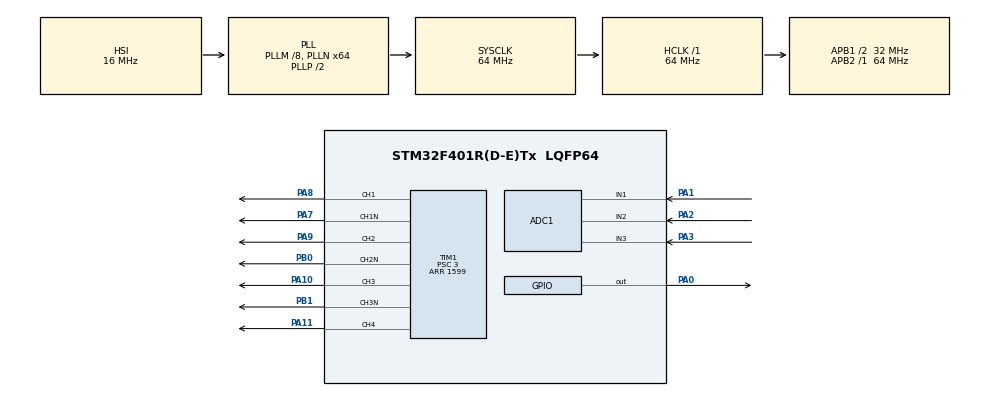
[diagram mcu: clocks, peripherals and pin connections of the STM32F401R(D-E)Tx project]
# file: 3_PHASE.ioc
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ADC1.Channel-0\#ChannelRegularConversion=ADC_CHANNEL_1
ADC1.NbrOfConversionFlag=1
ADC1.Rank-0\#ChannelRegularConversion=1
ADC1.SamplingTime-0\#ChannelRegularConversion=ADC_SAMPLETIME_3CYCLES
ADC1.master=1
Mcu.Family=STM32F4
Mcu.Name=STM32F401R(D-E)Tx
Mcu.Package=LQFP64
NVIC.ADC_IRQn=true\:0\:0\:false\:false\:true\:true\:true
NVIC.PriorityGroup=NVIC_PRIORITYGROUP_0
NVIC.TIM2_IRQn=true\:0\:0\:false\:false\:true\:true\:true
PA0-WKUP.GPIO_Speed=GPIO_SPEED_FREQ_VERY_HIGH
PA0-WKUP.Signal=GPIO_Output
PA1.Signal=ADCx_IN1
PA10.Signal=S_TIM1_CH3
PA11.Signal=S_TIM1_CH4
PA2.Signal=ADCx_IN2
PA3.Signal=ADCx_IN3
PA7.Mode=Output Compare1 CH1 CH1N
PA7.Signal=TIM1_CH1N
PA8.Signal=S_TIM1_CH1
PA9.Signal=S_TIM1_CH2
PB0.Mode=Output Compare2 CH2 CH2N
PB0.Signal=TIM1_CH2N
PB1.Mode=Output Compare3 CH3 CH3N
PB1.Signal=TIM1_CH3N
ProjectManager.HeapSize=0x200
ProjectManager.StackSize=0x400
ProjectManager.TargetToolchain=STM32CubeIDE
RCC.48MHZClocksFreq_Value=18285714.285714287
RCC.AHBFreq_Value=64000000
RCC.APB1CLKDivider=RCC_HCLK_DIV2
RCC.APB1Freq_Value=32000000
RCC.APB1TimFreq_Value=64000000
RCC.APB2Freq_Value=64000000
RCC.APB2TimFreq_Value=64000000
RCC.CortexFreq_Value=64000000
RCC.HCLKFreq_Value=64000000
RCC.HSE_VALUE=8000000
RCC.HSI_VALUE=16000000
RCC.LSE_VALUE=32768
RCC.PLLM=8
RCC.PLLN=64
RCC.PLLQ=7
RCC.SYSCLKFreq_VALUE=64000000
RCC.SYSCLKSource=RCC_SYSCLKSOURCE_PLLCLK
RCC.VCOOutputFreq_Value=128000000
SH.ADCx_IN1.0=ADC1_IN1,IN1
SH.ADCx_IN2.0=ADC1_IN2,IN2
SH.ADCx_IN3.0=ADC1_IN3,IN3
SH.S_TIM1_CH1.0=TIM1_CH1,Output Compare1 CH1 CH1N
SH.S_TIM1_CH2.0=TIM1_CH2,Output Compare2 CH2 CH2N
SH.S_TIM1_CH3.0=TIM1_CH3,Output Compare3 CH3 CH3N
SH.S_TIM1_CH4.0=TIM1_CH4,PWM Generation4 CH4
TIM1.Channel-Output\ Compare1\ CH1\ CH1N=TIM_CHANNEL_1
TIM1.Channel-Output\ Compare2\ CH2\ CH2N=TIM_CHANNEL_2
TIM1.Channel-Output\ Compare3\ CH3\ CH3N=TIM_CHANNEL_3
TIM1.Channel-PWM\ Generation4\ CH4=TIM_CHANNEL_4
TIM1.DeadTime=75
TIM1.Period=1599
TIM1.Prescaler=3
TIM1.TIM_MasterOutputTrigger=TIM_TRGO_UPDATE
TIM1.TIM_MasterSlaveMode=TIM_MASTERSLAVEMODE_ENABLE
TIM2.Period=1
VP_TIM1_VS_ClockSourceINT.Mode=Internal
VP_TIM2_VS_ClockSourceITR.Mode=TriggerSource_ITR0
VP_TIM2_VS_ControllerModeClock.Mode=Clock Mode
board=NUCLEO-F401RE

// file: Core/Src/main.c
/* USER CODE BEGIN Header */
/**
  ******************************************************************************
  * @file           : main.c
  * @brief          : Main program body
  ******************************************************************************
  * @attention
  *
  * <h2><center>&copy; Copyright (c) 2021 STMicroelectronics.
  * All rights reserved.</center></h2>
  *
  * This software component is licensed by ST under BSD 3-Clause license,
  * the "License"; You may not use this file except in compliance with the
  * License. You may obtain a copy of the License at:
  *                        opensource.org/licenses/BSD-3-Clause
  *
  ******************************************************************************
  */
/* USER CODE END Header */
#include "main.h"
#include "adc.h"
#include "tim.h"
#include "gpio.h"

/* USER CODE BEGIN PV */
int uwStep;
/* USER CODE END PV */

void SystemClock_Config(void);

int main(void)
{

  /* MCU Configuration--------------------------------------------------------*/

  /* Reset of all peripherals, Initializes the Flash interface and the Systick. */
  HAL_Init();

  /* Configure the system clock */
  SystemClock_Config();

  /* Initialize all configured peripherals */
  MX_GPIO_Init();
  MX_TIM1_Init();
  MX_TIM2_Init();
  MX_ADC1_Init();
  /* USER CODE BEGIN 2 */
//  HAL_TIM_PWM_Start(&htim1, TIM_CHANNEL_1);
//  __HAL_TIM_SET_COMPARE(&htim1,TIM_CHANNEL_1,100);
  sConfigOC.OCMode     = TIM_OCMODE_PWM1;
  	    HAL_TIM_PWM_ConfigChannel(&htim1, &sConfigOC, TIM_CHANNEL_1);
  	    HAL_TIM_PWM_Start(&htim1, TIM_CHANNEL_1);
  	    HAL_TIMEx_OCN_Stop(&htim1, TIM_CHANNEL_1);

 HAL_TIM_PWM_Start_IT(&htim2, TIM_CHANNEL_1);

 // HAL_TIMEx_ConfigCommutationEvent_IT(&htim1, TIM_TS_NONE, TIM_COMMUTATION_SOFTWARE);
  	  sConfigOC.Pulse = 100;
  	  HAL_TIM_OC_ConfigChannel(&htim1, &sConfigOC, TIM_CHANNEL_1);
  	  HAL_TIM_OC_ConfigChannel(&htim1, &sConfigOC, TIM_CHANNEL_2);
	  HAL_TIM_OC_ConfigChannel(&htim1, &sConfigOC, TIM_CHANNEL_3);

  /* USER CODE END 2 */

  /* Infinite loop */
  while (1)
  {

  }
}

void SystemClock_Config(void)
{
  RCC_OscInitTypeDef RCC_OscInitStruct = {0};
  RCC_ClkInitTypeDef RCC_ClkInitStruct = {0};

  /** Configure the main internal regulator output voltage
  */
  __HAL_RCC_PWR_CLK_ENABLE();
  __HAL_PWR_VOLTAGESCALING_CONFIG(PWR_REGULATOR_VOLTAGE_SCALE2);
  /** Initializes the RCC Oscillators according to the specified parameters
  * in the RCC_OscInitTypeDef structure.
  */
  RCC_OscInitStruct.OscillatorType = RCC_OSCILLATORTYPE_HSI;
  RCC_OscInitStruct.HSIState = RCC_HSI_ON;
  RCC_OscInitStruct.HSICalibrationValue = RCC_HSICALIBRATION_DEFAULT;
  RCC_OscInitStruct.PLL.PLLState = RCC_PLL_ON;
  RCC_OscInitStruct.PLL.PLLSource = RCC_PLLSOURCE_HSI;
  RCC_OscInitStruct.PLL.PLLM = 8;
  RCC_OscInitStruct.PLL.PLLN = 64;
  RCC_OscInitStruct.PLL.PLLP = RCC_PLLP_DIV2;
  RCC_OscInitStruct.PLL.PLLQ = 7;
  if (HAL_RCC_OscConfig(&RCC_OscInitStruct) != HAL_OK)
  {
    Error_Handler();
  }
  /** Initializes the CPU, AHB and APB buses clocks
  */
  RCC_ClkInitStruct.ClockType = RCC_CLOCKTYPE_HCLK|RCC_CLOCKTYPE_SYSCLK
                              |RCC_CLOCKTYPE_PCLK1|RCC_CLOCKTYPE_PCLK2;
  RCC_ClkInitStruct.SYSCLKSource = RCC_SYSCLKSOURCE_PLLCLK;
  RCC_ClkInitStruct.AHBCLKDivider = RCC_SYSCLK_DIV1;
  RCC_ClkInitStruct.APB1CLKDivider = RCC_HCLK_DIV2;
  RCC_ClkInitStruct.APB2CLKDivider = RCC_HCLK_DIV1;

  if (HAL_RCC_ClockConfig(&RCC_ClkInitStruct, FLASH_LATENCY_2) != HAL_OK)
  {
    Error_Handler();
  }
}

/* USER CODE BEGIN 4 */
//void HAL_TIMEx_CommutationCallback(TIM_HandleTypeDef *htim)
//{
//
//	 /* Entry state */
//	  if (uwStep == 0)
//	  {
//	    /* Next step: Step 1 Configuration -------------------------------------- */
//	    sConfigOC.OCMode     = TIM_OCMODE_PWM1;
//	    HAL_TIM_PWM_ConfigChannel(&htim1, &sConfigOC, TIM_CHANNEL_1);
//	    HAL_TIM_PWM_Start(&htim1, TIM_CHANNEL_1);
//	    HAL_TIMEx_OCN_Stop(&htim1, TIM_CHANNEL_1);
//
//	    /*  Channel3 configuration */
//	    sConfigOC.OCMode     = TIM_OCMODE_PWM1;
//	    HAL_TIM_PWM_ConfigChannel(&htim1, &sConfigOC, TIM_CHANNEL_3);
//	    HAL_TIMEx_OCN_Start(&htim1, TIM_CHANNEL_3);
//	    HAL_TIM_PWM_Stop(&htim1, TIM_CHANNEL_3);
//
//	    /*  Channel2 configuration */
//	    HAL_TIM_OC_Stop(&htim1, TIM_CHANNEL_2);
//	    HAL_TIMEx_OCN_Stop(&htim1, TIM_CHANNEL_2);
//	    uwStep = 1;
//	  }
//
//	  if (uwStep == 1)
//	  {
//	    /* Next step: Step 2 Configuration -------------------------------------- */
//	    /*  Channel1 configuration */
//	    /* Same configuration as the previous step */
//
//	    /*  Channel2 configuration */
//	    sConfigOC.OCMode     = TIM_OCMODE_PWM1;
//	    HAL_TIM_PWM_ConfigChannel(&htim1, &sConfigOC, TIM_CHANNEL_2);
//	    HAL_TIMEx_OCN_Start(&htim1, TIM_CHANNEL_2);
//
//	    /*  Channel3 configuration */
//	    HAL_TIMEx_OCN_Stop(&htim1, TIM_CHANNEL_3);
//
//	    uwStep++;
//	  }
//
//	  else if (uwStep == 2)
//	  {
//	    /* Next step: Step 3 Configuration -------------------------------------- */
//	    /*  Channel2 configuration */
//	    /* Same configuration as the previous step */
//
//	    /*  Channel3 configuration */
//	    sConfigOC.OCMode     = TIM_OCMODE_PWM1;
//	    HAL_TIM_PWM_ConfigChannel(&htim1, &sConfigOC, TIM_CHANNEL_3);
//	    HAL_TIM_PWM_Start(&htim1, TIM_CHANNEL_3);
//
//	    /*  Channel1 configuration */
//	    HAL_TIM_OC_Stop(&htim1, TIM_CHANNEL_1);
//
//	    uwStep++;
//	  }
//
//	  else if (uwStep == 3)
//	  {
//	    /* Next step: Step 4 Configuration -------------------------------------- */
//	    /*  Channel3 configuration */
//	    /* Same configuration as the previous step */
//
//	    /*  Channel2 configuration */
//	    HAL_TIMEx_OCN_Stop(&htim1, TIM_CHANNEL_2);
//
//	    /*  Channel1 configuration */
//	    sConfigOC.OCMode     = TIM_OCMODE_PWM1;
//	    HAL_TIM_PWM_ConfigChannel(&htim1, &sConfigOC, TIM_CHANNEL_1);
//	    HAL_TIMEx_OCN_Start(&htim1, TIM_CHANNEL_1);
//
//	    uwStep++;
//	  }
//	  else if (uwStep == 4)
//	  {
//	    /* Next step: Step 5 Configuration -------------------------------------- */
//	    /*  Channel3 configuration */
//	    HAL_TIM_OC_Stop(&htim1, TIM_CHANNEL_3);
//
//	    /*  Channel1 configuration */
//	    /* Same configuration as the previous step */
//
//	    /*  Channel2 configuration */
//	    sConfigOC.OCMode     = TIM_OCMODE_PWM1;
//	    HAL_TIM_PWM_ConfigChannel(&htim1, &sConfigOC, TIM_CHANNEL_2);
//	    HAL_TIM_PWM_Start(&htim1, TIM_CHANNEL_2);
//
//	    uwStep++;
//	  }
//
//	  else if (uwStep == 5)
//	  {
//	    /* Next step: Step 6 Configuration -------------------------------------- */
//	    /*  Channel3 configuration */
//	    sConfigOC.OCMode     = TIM_OCMODE_PWM1;
//	    HAL_TIM_PWM_ConfigChannel(&htim1, &sConfigOC, TIM_CHANNEL_3);
//	    HAL_TIMEx_OCN_Start(&htim1, TIM_CHANNEL_3);
//
//	    /*  Channel1 configuration */
//	    HAL_TIMEx_OCN_Stop(&htim1, TIM_CHANNEL_1);
//
//	    /*  Channel2 configuration */
//	    /* Same configuration as the previous step */
//
//	    uwStep++;
//	  }
//
//	  else
//	  {
//	    /* Next step: Step 1 Configuration -------------------------------------- */
//	    /*  Channel1 configuration */
//	    sConfigOC.OCMode     = TIM_OCMODE_PWM1;
//	    HAL_TIM_PWM_ConfigChannel(&htim1, &sConfigOC, TIM_CHANNEL_1);
//	    HAL_TIM_PWM_Start(&htim1, TIM_CHANNEL_1);
//
//	    /*  Channel3 configuration */
//	    /* Same configuration as the previous step */
//
//	    /*  Channel2 configuration */
//	    HAL_TIM_OC_Stop(&htim1, TIM_CHANNEL_2);
//
//	    uwStep = 1;
//	  }
//}

void HAL_TIM_PWM_PulseFinishedCallback(TIM_HandleTypeDef *htim)
{
	HAL_GPIO_TogglePin(GPIOA, GPIO_PIN_0);
	 if (uwStep == 0)
		  {
		    /* Next step: Step 1 Configuration -------------------------------------- */
		    sConfigOC.OCMode     = TIM_OCMODE_PWM1;
		    HAL_TIM_PWM_ConfigChannel(&htim1, &sConfigOC, TIM_CHANNEL_1);
		    HAL_TIM_PWM_Start(&htim1, TIM_CHANNEL_1);
		    HAL_TIMEx_OCN_Stop(&htim1, TIM_CHANNEL_1);

		    /*  Channel3 configuration */
		    sConfigOC.OCMode     = TIM_OCMODE_PWM1;
		    HAL_TIM_PWM_ConfigChannel(&htim1, &sConfigOC, TIM_CHANNEL_3);
		    HAL_TIMEx_OCN_Start(&htim1, TIM_CHANNEL_3);
		    HAL_TIM_PWM_Stop(&htim1, TIM_CHANNEL_3);

		    /*  Channel2 configuration */
		    HAL_TIM_OC_Stop(&htim1, TIM_CHANNEL_2);
		    HAL_TIMEx_OCN_Stop(&htim1, TIM_CHANNEL_2);
		    uwStep = 1;
		  }

		  if (uwStep == 1)
		  {
		    /* Next step: Step 2 Configuration -------------------------------------- */
		    /*  Channel1 configuration */
		    /* Same configuration as the previous step */

		    /*  Channel2 configuration */
		    sConfigOC.OCMode     = TIM_OCMODE_PWM1;
		    HAL_TIM_PWM_ConfigChannel(&htim1, &sConfigOC, TIM_CHANNEL_2);
		    HAL_TIMEx_OCN_Start(&htim1, TIM_CHANNEL_2);

		    /*  Channel3 configuration */
		    HAL_TIMEx_OCN_Stop(&htim1, TIM_CHANNEL_3);

		    uwStep++;
		  }

		  else if (uwStep == 2)
		  {
		    /* Next step: Step 3 Configuration -------------------------------------- */
		    /*  Channel2 configuration */
		    /* Same configuration as the previous step */

		    /*  Channel3 configuration */
		    sConfigOC.OCMode     = TIM_OCMODE_PWM1;
		    HAL_TIM_PWM_ConfigChannel(&htim1, &sConfigOC, TIM_CHANNEL_3);
		    HAL_TIM_PWM_Start(&htim1, TIM_CHANNEL_3);

		    /*  Channel1 configuration */
		    HAL_TIM_OC_Stop(&htim1, TIM_CHANNEL_1);

		    uwStep++;
		  }

		  else if (uwStep == 3)
		  {
		    /* Next step: Step 4 Configuration -------------------------------------- */
		    /*  Channel3 configuration */
		    /* Same configuration as the previous step */

		    /*  Channel2 configuration */
		    HAL_TIMEx_OCN_Stop(&htim1, TIM_CHANNEL_2);

		    /*  Channel1 configuration */
		    sConfigOC.OCMode     = TIM_OCMODE_PWM1;
		    HAL_TIM_PWM_ConfigChannel(&htim1, &sConfigOC, TIM_CHANNEL_1);
		    HAL_TIMEx_OCN_Start(&htim1, TIM_CHANNEL_1);

		    uwStep++;
		  }
		  else if (uwStep == 4)
		  {
		    /* Next step: Step 5 Configuration -------------------------------------- */
		    /*  Channel3 configuration */
		    HAL_TIM_OC_Stop(&htim1, TIM_CHANNEL_3);

		    /*  Channel1 configuration */
		    /* Same configuration as the previous step */

		    /*  Channel2 configuration */
		    sConfigOC.OCMode     = TIM_OCMODE_PWM1;
		    HAL_TIM_PWM_ConfigChannel(&htim1, &sConfigOC, TIM_CHANNEL_2);
		    HAL_TIM_PWM_Start(&htim1, TIM_CHANNEL_2);

		    uwStep++;
		  }

		  else if (uwStep == 5)
		  {
		    /* Next step: Step 6 Configuration -------------------------------------- */
		    /*  Channel3 configuration */
		    sConfigOC.OCMode     = TIM_OCMODE_PWM1;
		    HAL_TIM_PWM_ConfigChannel(&htim1, &sConfigOC, TIM_CHANNEL_3);
		    HAL_TIMEx_OCN_Start(&htim1, TIM_CHANNEL_3);

		    /*  Channel1 configuration */
		    HAL_TIMEx_OCN_Stop(&htim1, TIM_CHANNEL_1);

		    /*  Channel2 configuration */
		    /* Same configuration as the previous step */

		    uwStep++;
		  }

		  else
		  {
		    /* Next step: Step 1 Configuration -------------------------------------- */
		    /*  Channel1 configuration */
		    sConfigOC.OCMode     = TIM_OCMODE_PWM1;
		    HAL_TIM_PWM_ConfigChannel(&htim1, &sConfigOC, TIM_CHANNEL_1);
		    HAL_TIM_PWM_Start(&htim1, TIM_CHANNEL_1);

		    /*  Channel3 configuration */
		    /* Same configuration as the previous step */

		    /*  Channel2 configuration */
		    HAL_TIM_OC_Stop(&htim1, TIM_CHANNEL_2);

		    uwStep = 1;
		  }
}
/* USER CODE END 4 */

void Error_Handler(void)
{
}

/************************ (C) COPYRIGHT STMicroelectronics *****END OF FILE****/
